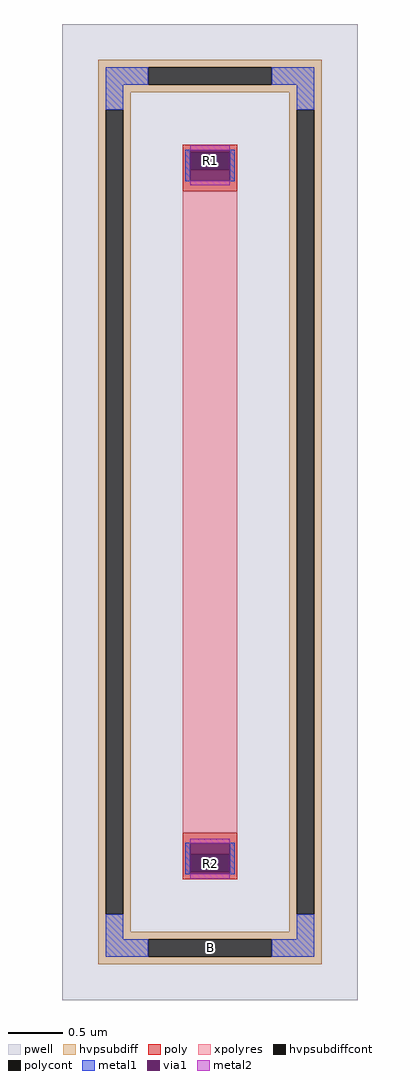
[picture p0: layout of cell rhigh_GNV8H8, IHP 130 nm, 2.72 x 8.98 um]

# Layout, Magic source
magic
tech ihp-sg13cmos5l
magscale 1 2
<< pwell >>
rect -272 -898 272 898
<< hvpsubdiff >>
rect -206 818 206 832
rect -206 786 -114 818
rect 114 786 206 818
rect -206 772 206 786
rect -206 740 -146 772
rect -206 -740 -192 740
rect -160 -740 -146 740
rect 146 740 206 772
rect -206 -772 -146 -740
rect 146 -740 160 740
rect 192 -740 206 740
rect 146 -772 206 -740
rect -206 -786 206 -772
rect -206 -818 -114 -786
rect 114 -818 206 -786
rect -206 -832 206 -818
<< hvpsubdiffcont >>
rect -114 786 114 818
rect -192 -740 -160 740
rect 160 -740 192 740
rect -114 -818 114 -786
<< poly >>
rect -50 662 50 676
rect -50 630 -36 662
rect 36 630 50 662
rect -50 590 50 630
rect -50 -630 50 -590
rect -50 -662 -36 -630
rect 36 -662 50 -630
rect -50 -676 50 -662
<< polycont >>
rect -36 630 36 662
rect -36 -662 36 -630
<< xpolyres >>
rect -50 -590 50 590
<< metal1 >>
rect -192 786 -114 818
rect 114 786 192 818
rect -192 740 -160 786
rect 160 740 192 786
rect -46 666 46 667
rect -46 610 -36 666
rect 36 610 46 666
rect -46 609 46 610
rect -46 -610 46 -609
rect -46 -666 -36 -610
rect 36 -666 46 -610
rect -46 -667 46 -666
rect -192 -786 -160 -740
rect 160 -786 192 -740
rect -192 -818 -114 -786
rect 114 -818 192 -786
<< via1 >>
rect -36 662 36 666
rect -36 630 36 662
rect -36 610 36 630
rect -36 -630 36 -610
rect -36 -662 36 -630
rect -36 -666 36 -662
<< metal2 >>
rect -36 666 36 675
rect -36 601 36 610
rect -36 -610 36 -601
rect -36 -675 36 -666
<< labels >>
rlabel hvpsubdiffcont 0 -802 0 -802 0 B
port 1 nsew
rlabel polycont 0 646 0 646 0 R1
port 2 nsew
rlabel polycont 0 -646 0 -646 0 R2
port 3 nsew
<< properties >>
string FIXED_BBOX -176 -802 176 802
string gencell rhigh
string library sg13cmos5l
string MASKHINTS_CONTBAR -50 -676 50 676
string parameters w 0.5 l 5.9 m 1 nx 1 wmin 0.50 lmin 0.50 class resistor rho 1360 val 16.048k dummy 0 dw 0.0 term 0.0 sterm 0.0 caplen 0 bar 1 guard 1 glc 1 grc 1 gtc 1 gbc 1 snake 0 full_metal 1 n_guard 0 hv_guard 1 vias 1 viagb 0 viagt 0 viagl 0 viagr 0 doports 1
<< end >>
